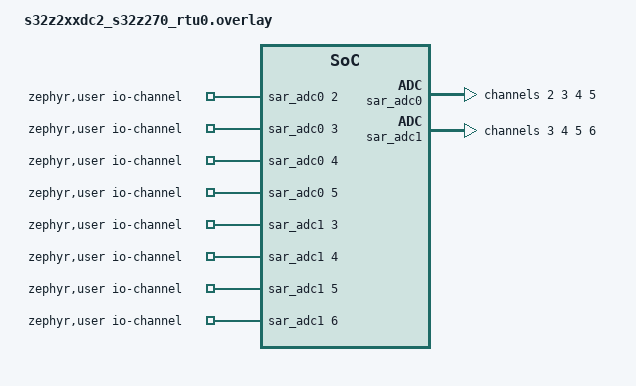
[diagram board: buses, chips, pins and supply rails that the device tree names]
/*
 * Copyright 2024 NXP
 *
 * SPDX-License-Identifier: Apache-2.0
 */

#include <zephyr/dt-bindings/adc/adc.h>

/ {
	zephyr,user {
		io-channels = <&sar_adc0 2>, <&sar_adc0 3>, <&sar_adc0 4>, <&sar_adc0 5>,
				<&sar_adc1 3>, <&sar_adc1 4>, <&sar_adc1 5>, <&sar_adc1 6>;
	};
};

&sar_adc0 {
	group-channel = "precision";
	callback-select = "normal-end-chain";
	status = "okay";
	#address-cells = <1>;
	#size-cells = <0>;
	vref-mv = <1800>;

	channel@2 {
		reg = <2>;
		zephyr,gain = "ADC_GAIN_1";
		zephyr,reference = "ADC_REF_INTERNAL";
		zephyr,acquisition-time = <ADC_ACQ_TIME_DEFAULT>;
		zephyr,resolution = <12>;
	};

	channel@3 {
		reg = <3>;
		zephyr,gain = "ADC_GAIN_1";
		zephyr,reference = "ADC_REF_INTERNAL";
		zephyr,acquisition-time = <ADC_ACQ_TIME_DEFAULT>;
		zephyr,resolution = <12>;
	};

	channel@4 {
		reg = <4>;
		zephyr,gain = "ADC_GAIN_1";
		zephyr,reference = "ADC_REF_INTERNAL";
		zephyr,acquisition-time = <ADC_ACQ_TIME_DEFAULT>;
		zephyr,resolution = <12>;
	};

	channel@5 {
		reg = <5>;
		zephyr,gain = "ADC_GAIN_1";
		zephyr,reference = "ADC_REF_INTERNAL";
		zephyr,acquisition-time = <ADC_ACQ_TIME_DEFAULT>;
		zephyr,resolution = <12>;
	};

};

&sar_adc1 {
	group-channel = "standard";
	status = "okay";
	#address-cells = <1>;
	#size-cells = <0>;

	channel@3 {
		reg = <3>;
		zephyr,gain = "ADC_GAIN_1";
		zephyr,reference = "ADC_REF_INTERNAL";
		zephyr,acquisition-time = <ADC_ACQ_TIME_DEFAULT>;
		zephyr,resolution = <12>;
	};

	channel@4 {
		reg = <4>;
		zephyr,gain = "ADC_GAIN_1";
		zephyr,reference = "ADC_REF_INTERNAL";
		zephyr,acquisition-time = <ADC_ACQ_TIME_DEFAULT>;
		zephyr,resolution = <12>;
	};

	channel@5 {
		reg = <5>;
		zephyr,gain = "ADC_GAIN_1";
		zephyr,reference = "ADC_REF_INTERNAL";
		zephyr,acquisition-time = <ADC_ACQ_TIME_DEFAULT>;
		zephyr,resolution = <12>;
	};

	channel@6 {
		reg = <6>;
		zephyr,gain = "ADC_GAIN_1";
		zephyr,reference = "ADC_REF_INTERNAL";
		zephyr,acquisition-time = <ADC_ACQ_TIME_DEFAULT>;
		zephyr,resolution = <12>;
	};
};
